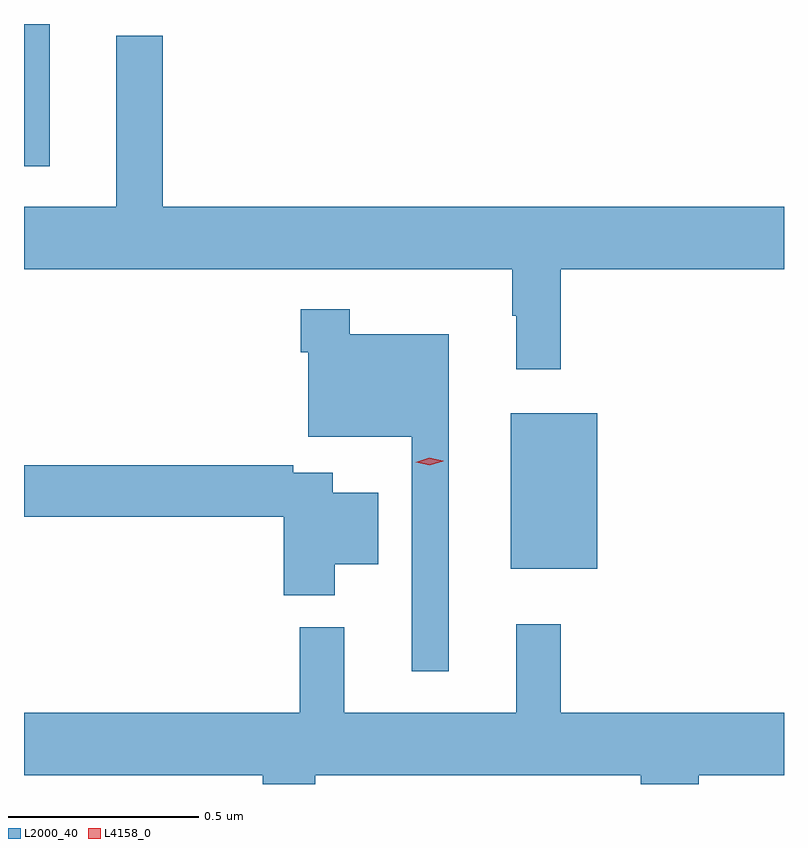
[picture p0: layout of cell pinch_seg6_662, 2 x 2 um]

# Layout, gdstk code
import gdstk
lib = gdstk.Library(unit=1e-6, precision=1e-09)
def R(c, l, rs):  # rectangles x0, y0, x1, y1
    for r in rs: c.add(gdstk.rectangle(r[:2], r[2:], *l))
def P(c, l, *ps):  # polygons
    for p in ps: c.add(gdstk.Polygon(p, *l))
L2000_40 = (2000, 40)
L4158_0 = (4158, 0)

pinch_seg6_662 = lib.new_cell('pinch_seg6_662')
R(pinch_seg6_662, L2000_40, [(419.687,929.231,419.914,929.641), (418.406,930.291,418.474,930.665)])
P(pinch_seg6_662, L2000_40, [(419.819,930.02),(420.406,930.02),(420.406,930.184),(418.771,930.184),(418.771,930.634),(418.649,930.634),(418.649,930.184),(418.406,930.184),(418.406,930.02),(419.691,930.02),(419.691,929.897),(419.702,929.897),(419.702,929.757),(419.819,929.757)],
  [(419.524,929.848),(419.263,929.848),(419.263,929.914),(419.134,929.914),(419.134,929.801),(419.154,929.801),(419.154,929.579),(419.427,929.579),(419.427,928.962),(419.524,928.962)],
  [(419.224,929.243),(419.338,929.243),(419.338,929.431),(419.218,929.431),(419.218,929.484),(419.114,929.484),(419.114,929.504),(418.406,929.504),(418.406,929.368),(419.09,929.368),(419.09,929.162),(419.224,929.162)],
  [(419.173,928.688),(420.029,928.688),(420.029,928.665),(420.182,928.665),(420.182,928.688),(420.406,928.688),(420.406,928.852),(419.819,928.852),(419.819,929.086),(419.702,929.086),(419.702,928.852),(419.249,928.852),(419.249,929.077),(419.131,929.077),(419.131,928.852),(418.406,928.852),(418.406,928.688),(419.034,928.688),(419.034,928.665),(419.173,928.665)])
P(pinch_seg6_662, L4158_0, [(419.474,929.504),(419.437,929.512),(419.437,929.512),(419.437,929.512),(419.473,929.524),(419.509,929.516),(419.509,929.516),(419.509,929.515)])

lib.write_gds('pinch_seg6_662.gds')
